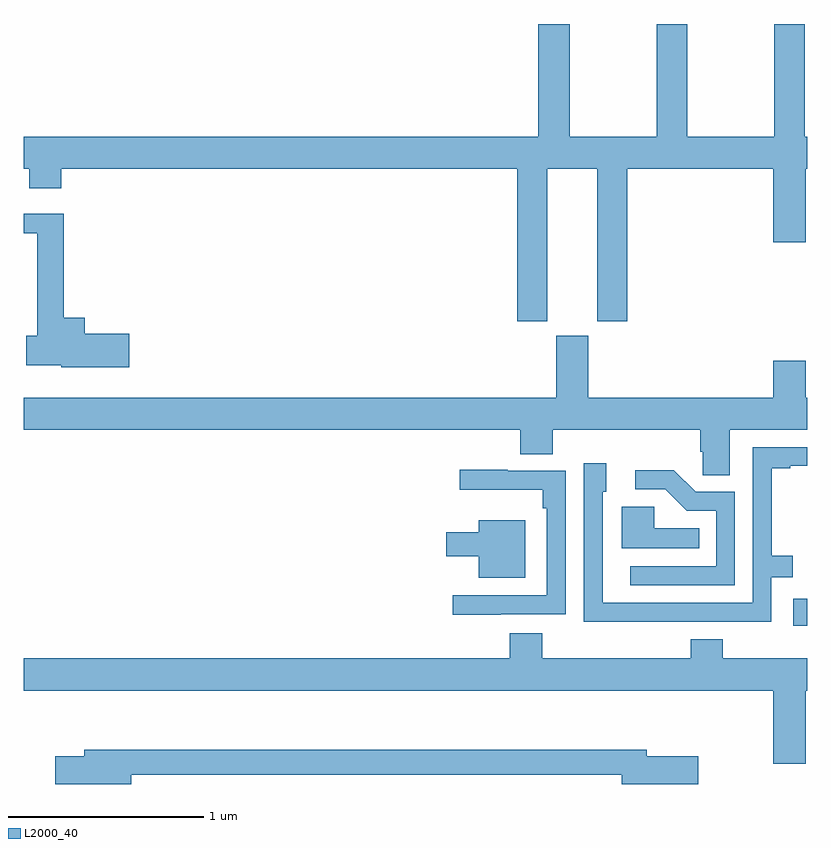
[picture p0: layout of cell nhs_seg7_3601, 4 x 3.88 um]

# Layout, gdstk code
import gdstk
lib = gdstk.Library(unit=1e-6, precision=1e-09)
def R(c, l, rs):  # rectangles x0, y0, x1, y1
    for r in rs: c.add(gdstk.rectangle(r[:2], r[2:], *l))
def P(c, l, *ps):  # polygons
    for p in ps: c.add(gdstk.Polygon(p, *l))
L2000_40 = (2000, 40)

nhs_seg7_3601 = lib.new_cell('nhs_seg7_3601')
R(nhs_seg7_3601, L2000_40, [(344.928,1020.926,345,1021.066)])
P(nhs_seg7_3601, L2000_40, [(343.672,1023.26),(343.928,1023.26),(343.928,1022.481),(344.081,1022.481),(344.081,1023.26),(344.828,1023.26),(344.828,1022.886),(344.992,1022.886),(344.992,1023.26),(345,1023.26),(345,1023.424),(344.988,1023.424),(344.988,1024),(344.833,1024),(344.833,1023.424),(344.388,1023.424),(344.388,1024),(344.233,1024),(344.233,1023.424),(343.788,1023.424),(343.788,1024),(343.628,1024),(343.628,1023.424),(341,1023.424),(341,1023.26),(341.027,1023.26),(341.027,1023.161),(341.192,1023.161),(341.192,1023.26),(343.52,1023.26),(343.52,1022.481),(343.672,1022.481)],
  [(341.539,1022.417),(341.311,1022.417),(341.311,1022.5),(341.204,1022.5),(341.204,1023.031),(341,1023.031),(341,1022.932),(341.069,1022.932),(341.069,1022.408),(341.013,1022.408),(341.013,1022.258),(341.19,1022.258),(341.19,1022.246),(341.539,1022.246)],
  [(344.605,1021.928),(345,1021.928),(345,1022.092),(344.992,1022.092),(344.992,1022.281),(344.828,1022.281),(344.828,1022.092),(343.882,1022.092),(343.882,1022.409),(343.718,1022.409),(343.718,1022.092),(341,1022.092),(341,1021.928),(343.535,1021.928),(343.535,1021.804),(343.7,1021.804),(343.7,1021.928),(344.453,1021.928),(344.453,1021.816),(344.467,1021.816),(344.467,1021.696),(344.605,1021.696)],
  [(344.321,1020.948),(344.817,1020.948),(344.817,1021.176),(344.926,1021.176),(344.926,1021.285),(344.819,1021.285),(344.819,1021.731),(344.914,1021.731),(344.914,1021.743),(345,1021.743),(345,1021.839),(344.721,1021.839),(344.721,1021.044),(343.957,1021.044),(343.957,1021.271),(343.956,1021.271),(343.956,1021.611),(343.975,1021.611),(343.975,1021.756),(343.86,1021.756),(343.86,1020.947),(344.321,1020.947)],
  [(343.435,1020.987),(343.767,1020.987),(343.767,1021.719),(343.471,1021.719),(343.471,1021.723),(343.227,1021.723),(343.227,1021.622),(343.651,1021.622),(343.651,1021.526),(343.671,1021.526),(343.671,1021.083),(343.191,1021.083),(343.191,1020.983),(343.435,1020.983)],
  [(344.631,1021.611),(344.43,1021.611),(344.32,1021.721),(344.121,1021.721),(344.121,1021.623),(344.276,1021.623),(344.384,1021.515),(344.535,1021.515),(344.535,1021.23),(344.097,1021.23),(344.097,1021.134),(344.631,1021.134)],
  [(344.45,1021.426),(344.22,1021.426),(344.22,1021.534),(344.054,1021.534),(344.054,1021.322),(344.45,1021.322)],
  [(343.561,1021.465),(343.322,1021.465),(343.322,1021.405),(343.158,1021.405),(343.158,1021.283),(343.322,1021.283),(343.322,1021.172),(343.561,1021.172)],
  [(344.405,1020.859),(344.405,1020.76),(343.646,1020.76),(343.646,1020.889),(343.481,1020.889),(343.481,1020.76),(341,1020.76),(341,1020.596),(344.828,1020.596),(344.828,1020.222),(344.992,1020.222),(344.992,1020.596),(345,1020.596),(345,1020.76),(344.57,1020.76),(344.57,1020.859)],
  [(341.548,1020.166),(344.054,1020.166),(344.054,1020.119),(344.443,1020.119),(344.443,1020.261),(344.182,1020.261),(344.182,1020.295),(341.309,1020.295),(341.309,1020.261),(341.16,1020.261),(341.16,1020.119),(341.548,1020.119)])

lib.write_gds('nhs_seg7_3601.gds')
